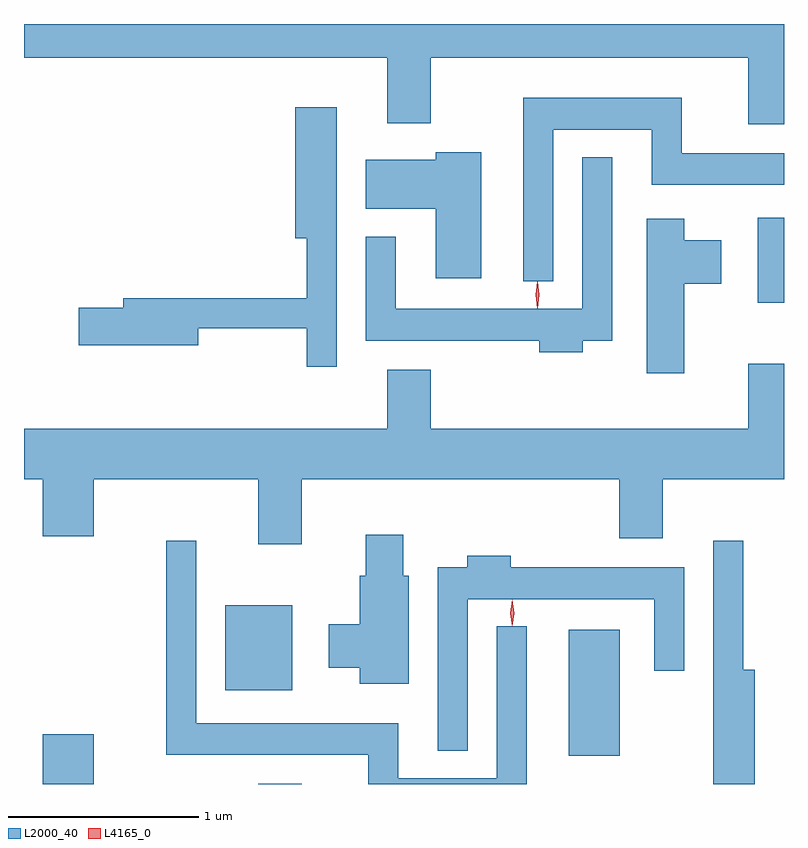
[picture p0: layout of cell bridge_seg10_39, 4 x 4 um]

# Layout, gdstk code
import gdstk
lib = gdstk.Library(unit=1e-6, precision=1e-09)
def R(c, l, rs):  # rectangles x0, y0, x1, y1
    for r in rs: c.add(gdstk.rectangle(r[:2], r[2:], *l))
def P(c, l, *ps):  # polygons
    for p in ps: c.add(gdstk.Polygon(p, *l))
L2000_40 = (2000, 40)
L4165_0 = (4165, 0)

bridge_seg10_39 = lib.new_cell('bridge_seg10_39')
R(bridge_seg10_39, L2000_40, [(1593.696,2207.773,1593.964,2208.034), (1594.831,2207.773,1595.059,2207.774), (1596.466,2207.921,1596.734,2208.584), (1594.656,2208.266,1595.009,2208.714), (1597.461,2210.306,1597.598,2210.754)])
P(bridge_seg10_39, L2000_40, [(1597.598,2211.773),(1593.598,2211.773),(1593.598,2211.596),(1595.511,2211.596),(1595.511,2211.251),(1595.739,2211.251),(1595.739,2211.596),(1597.411,2211.596),(1597.411,2211.246),(1597.598,2211.246)],
  [(1596.384,2211.216),(1596.901,2211.216),(1596.901,2210.926),(1597.598,2210.926),(1597.598,2211.094),(1597.059,2211.094),(1597.059,2211.384),(1596.226,2211.384),(1596.226,2210.418),(1596.384,2210.418)],
  [(1595.244,2211.334),(1595.026,2211.334),(1595.026,2210.646),(1595.086,2210.646),(1595.086,2210.329),(1594.121,2210.329),(1594.121,2210.279),(1593.886,2210.279),(1593.886,2210.081),(1594.514,2210.081),(1594.514,2210.171),(1595.086,2210.171),(1595.086,2209.968),(1595.244,2209.968)],
  [(1596.004,2211.099),(1595.766,2211.099),(1595.766,2211.059),(1595.396,2211.059),(1595.396,2210.801),(1595.766,2210.801),(1595.766,2210.436),(1596.004,2210.436)],
  [(1596.539,2210.106),(1596.694,2210.106),(1596.694,2211.073),(1596.536,2211.073),(1596.536,2210.274),(1595.554,2210.274),(1595.554,2210.653),(1595.396,2210.653),(1595.396,2210.106),(1596.311,2210.106),(1596.311,2210.046),(1596.539,2210.046)],
  [(1597.074,2210.406),(1597.269,2210.406),(1597.269,2210.634),(1597.074,2210.634),(1597.074,2210.749),(1596.876,2210.749),(1596.876,2209.936),(1597.074,2209.936)],
  [(1595.059,2209.376),(1596.731,2209.376),(1596.731,2209.066),(1596.959,2209.066),(1596.959,2209.376),(1597.598,2209.376),(1597.598,2209.984),(1597.411,2209.984),(1597.411,2209.644),(1595.739,2209.644),(1595.739,2209.954),(1595.511,2209.954),(1595.511,2209.644),(1593.598,2209.644),(1593.598,2209.376),(1593.696,2209.376),(1593.696,2209.076),(1593.964,2209.076),(1593.964,2209.376),(1594.831,2209.376),(1594.831,2209.036),(1595.059,2209.036)],
  [(1595.624,2208.869),(1595.594,2208.869),(1595.594,2209.084),(1595.396,2209.084),(1595.396,2208.869),(1595.366,2208.869),(1595.366,2208.614),(1595.201,2208.614),(1595.201,2208.386),(1595.366,2208.386),(1595.366,2208.301),(1595.624,2208.301)],
  [(1597.444,2208.374),(1597.384,2208.374),(1597.384,2209.053),(1597.226,2209.053),(1597.226,2207.773),(1597.444,2207.773)],
  [(1596.244,2208.603),(1596.086,2208.603),(1596.086,2207.804),(1595.569,2207.804),(1595.569,2208.094),(1594.504,2208.094),(1594.504,2209.053),(1594.346,2209.053),(1594.346,2207.926),(1595.411,2207.926),(1595.411,2207.773),(1596.244,2207.773)],
  [(1595.934,2208.746),(1596.916,2208.746),(1596.916,2208.368),(1597.074,2208.368),(1597.074,2208.914),(1596.159,2208.914),(1596.159,2208.974),(1595.931,2208.974),(1595.931,2208.914),(1595.776,2208.914),(1595.776,2207.948),(1595.934,2207.948)])
P(bridge_seg10_39, L4165_0, [(1596.167,2208.604),(1596.167,2208.604),(1596.157,2208.673),(1596.167,2208.742),(1596.167,2208.743),(1596.168,2208.742),(1596.177,2208.673),(1596.168,2208.604)],
  [(1596.3,2210.277),(1596.3,2210.278),(1596.291,2210.347),(1596.3,2210.416),(1596.301,2210.416),(1596.301,2210.416),(1596.31,2210.347),(1596.301,2210.278)])

lib.write_gds('bridge_seg10_39.gds')
